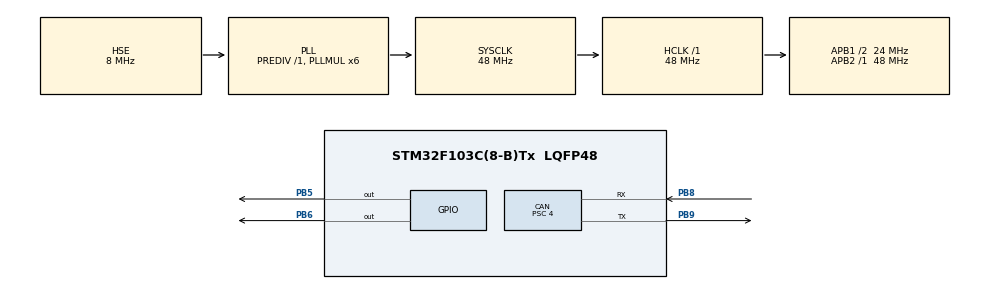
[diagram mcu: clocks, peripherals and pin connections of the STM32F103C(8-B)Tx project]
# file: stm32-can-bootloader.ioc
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CAN.BS1=CAN_BS1_5TQ
CAN.BS2=CAN_BS2_6TQ
CAN.CalculateTimeBit=2000
CAN.CalculateTimeQuantum=166.66666666666666
CAN.NART=ENABLE
CAN.Prescaler=4
Mcu.Family=STM32F1
Mcu.Name=STM32F103C(8-B)Tx
Mcu.Package=LQFP48
NVIC.PriorityGroup=NVIC_PRIORITYGROUP_4
NVIC.USB_LP_CAN1_RX0_IRQn=true\:5\:0\:true\:false\:true\:true\:true\:true
PA13.Mode=Serial_Wire
PA13.Signal=SYS_JTMS-SWDIO
PA14.Mode=Serial_Wire
PA14.Signal=SYS_JTCK-SWCLK
PB5.Signal=GPIO_Output
PB6.Signal=GPIO_Output
PB8.Mode=Master
PB8.Signal=CAN_RX
PB9.Mode=Master
PB9.Signal=CAN_TX
PD0-OSC_IN.Mode=HSE-External-Oscillator
PD0-OSC_IN.Signal=RCC_OSC_IN
PD1-OSC_OUT.Mode=HSE-External-Oscillator
PD1-OSC_OUT.Signal=RCC_OSC_OUT
ProjectManager.HeapSize=0x200
ProjectManager.StackSize=0x400
ProjectManager.TargetToolchain=STM32CubeIDE
RCC.AHBFreq_Value=48000000
RCC.APB1CLKDivider=RCC_HCLK_DIV2
RCC.APB1Freq_Value=24000000
RCC.APB1TimFreq_Value=48000000
RCC.APB2Freq_Value=48000000
RCC.APB2TimFreq_Value=48000000
RCC.HCLKFreq_Value=48000000
RCC.PLLMUL=RCC_PLL_MUL6
RCC.PLLSourceVirtual=RCC_PLLSOURCE_HSE
RCC.SYSCLKFreq_VALUE=48000000
RCC.SYSCLKSource=RCC_SYSCLKSOURCE_PLLCLK
RCC.USBFreq_Value=48000000
VP_CRC_VS_CRC.Mode=CRC_Activate
board=stm32-can-bootloader

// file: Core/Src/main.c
/**
  ******************************************************************************
  * File Name          : main.c
  * Description        : Main program body
  ******************************************************************************
  *
  * COPYRIGHT(c) 2016 STMicroelectronics
  *
  * Redistribution and use in source and binary forms, with or without modification,
  * are permitted provided that the following conditions are met:
  *   1. Redistributions of source code must retain the above copyright notice,
  *      this list of conditions and the following disclaimer.
  *   2. Redistributions in binary form must reproduce the above copyright notice,
  *      this list of conditions and the following disclaimer in the documentation
  *      and/or other materials provided with the distribution.
  *   3. Neither the name of STMicroelectronics nor the names of its contributors
  *      may be used to endorse or promote products derived from this software
  *      without specific prior written permission.
  *
  * THIS SOFTWARE IS PROVIDED BY THE COPYRIGHT HOLDERS AND CONTRIBUTORS "AS IS"
  * AND ANY EXPRESS OR IMPLIED WARRANTIES, INCLUDING, BUT NOT LIMITED TO, THE
  * IMPLIED WARRANTIES OF MERCHANTABILITY AND FITNESS FOR A PARTICULAR PURPOSE ARE
  * DISCLAIMED. IN NO EVENT SHALL THE COPYRIGHT HOLDER OR CONTRIBUTORS BE LIABLE
  * FOR ANY DIRECT, INDIRECT, INCIDENTAL, SPECIAL, EXEMPLARY, OR CONSEQUENTIAL
  * DAMAGES (INCLUDING, BUT NOT LIMITED TO, PROCUREMENT OF SUBSTITUTE GOODS OR
  * SERVICES; LOSS OF USE, DATA, OR PROFITS; OR BUSINESS INTERRUPTION) HOWEVER
  * CAUSED AND ON ANY THEORY OF LIABILITY, WHETHER IN CONTRACT, STRICT LIABILITY,
  * OR TORT (INCLUDING NEGLIGENCE OR OTHERWISE) ARISING IN ANY WAY OUT OF THE USE
  * OF THIS SOFTWARE, EVEN IF ADVISED OF THE POSSIBILITY OF SUCH DAMAGE.
  *
  ******************************************************************************
  */
#include "main.h"
#include "stm32f1xx_hal.h"

/* USER CODE BEGIN Includes */
#include <string.h>

#define  WAIT_HOST    0
#define IDLE        1
#define PAGE_PROG    2

typedef void (*pFunction)(void);

// Flash configuration
#define MAIN_PROGRAM_START_ADDRESS              (uint32_t)0x08002000
#define MAIN_PROGRAM_PAGE_NUMBER                8
#define NUM_OF_PAGES                            (64 - MAIN_PROGRAM_PAGE_NUMBER)

// CAN identifiers
#define DEVICE_CAN_ID                            0x78E
#define CMD_HOST_INIT                            0x01
#define CMD_PAGE_PROG                            0x02
#define CMD_BOOT                                0x03

#define CAN_RESP_OK                              0x01
#define CAN_RESP_ERROR                          0x02

/* USER CODE END Includes */

CAN_HandleTypeDef hcan;

CRC_HandleTypeDef hcrc;

/* USER CODE BEGIN PV */
/* Private variables ---------------------------------------------------------*/
static CanTxMsgTypeDef        canTxMessage;
static CanRxMsgTypeDef        canRxMessage;
static FLASH_EraseInitTypeDef eraseInitStruct;

pFunction                     JumpAddress;
uint8_t                       PageBuffer[FLASH_PAGE_SIZE];
volatile int                  PageBufferPtr;
uint8_t                       PageIndex;
int                           PageCRC;

volatile uint8_t              blState;

/* USER CODE END PV */

void SystemClock_Config(void);
void Error_Handler(void);
static void MX_GPIO_Init(void);
static void MX_CAN_Init(void);
static void MX_CRC_Init(void);

/* USER CODE BEGIN PFP */
/* Private function prototypes -----------------------------------------------*/

/* USER CODE END PFP */

/* USER CODE BEGIN 0 */
void JumpToApplication()
{
  JumpAddress = *(__IO pFunction*)(MAIN_PROGRAM_START_ADDRESS + 4);
  __set_MSP(*(__IO uint32_t*) MAIN_PROGRAM_START_ADDRESS);
  HAL_DeInit();
  JumpAddress();
}

void TransmitResponsePacket(uint8_t response)
{
  hcan.pTxMsg->StdId = DEVICE_CAN_ID;
  hcan.pTxMsg->DLC = 1;
  hcan.pTxMsg->Data[0] = response;
  HAL_CAN_Transmit_IT(&hcan);
}

void HAL_CAN_RxCpltCallback(CAN_HandleTypeDef* CanHandle)
{
  // Skip messages not intended for our device
  if (CanHandle->pRxMsg->StdId != DEVICE_CAN_ID) {
    HAL_CAN_Receive_IT(&hcan, CAN_FIFO0);
    return;
  }

  if (blState == PAGE_PROG)
  {
    memcpy(&PageBuffer[PageBufferPtr],
      CanHandle->pRxMsg->Data,
      CanHandle->pRxMsg->DLC);
    PageBufferPtr += CanHandle->pRxMsg->DLC;

    if (PageBufferPtr == FLASH_PAGE_SIZE) {
      HAL_NVIC_DisableIRQ(USB_LP_CAN1_RX0_IRQn);

      HAL_GPIO_TogglePin(GPIOB, GPIO_PIN_5);
      uint32_t crc = HAL_CRC_Calculate(&hcrc, (uint32_t*)PageBuffer, FLASH_PAGE_SIZE / 4);

      if (crc == PageCRC && PageIndex <= NUM_OF_PAGES)
      {
        HAL_FLASH_Unlock();

        uint32_t PageError = 0;

        eraseInitStruct.TypeErase = TYPEERASE_PAGES;
        eraseInitStruct.PageAddress = MAIN_PROGRAM_START_ADDRESS + PageIndex * FLASH_PAGE_SIZE;
        eraseInitStruct.NbPages = 1;

        HAL_FLASHEx_Erase(&eraseInitStruct, &PageError);

        for (int i = 0; i < FLASH_PAGE_SIZE; i += 4)
        {
          HAL_FLASH_Program(TYPEPROGRAM_WORD, MAIN_PROGRAM_START_ADDRESS + PageIndex * FLASH_PAGE_SIZE + i, *(uint32_t*)&PageBuffer[i]);
        }

        HAL_FLASH_Lock();

        TransmitResponsePacket(CAN_RESP_OK);
      }
      else
      {
        TransmitResponsePacket(CAN_RESP_ERROR);
      }

      blState = IDLE;

      HAL_NVIC_EnableIRQ(USB_LP_CAN1_RX0_IRQn);
    }

    HAL_GPIO_TogglePin(GPIOB, GPIO_PIN_6);
    HAL_CAN_Receive_IT(&hcan, CAN_FIFO0);
    return;
  }

  switch(CanHandle->pRxMsg->Data[0])
  {
    case CMD_HOST_INIT:
      blState = IDLE;
      TransmitResponsePacket(CAN_RESP_OK);
      break;
    case CMD_PAGE_PROG:
      if (blState == IDLE) {
        memset(PageBuffer, 0, FLASH_PAGE_SIZE);
        memcpy(&PageCRC, &CanHandle->pRxMsg->Data[2], sizeof(int));
        PageIndex = CanHandle->pRxMsg->Data[1];
        blState = PAGE_PROG;
        PageBufferPtr = 0;
      } else {
        // Should never get here
      }
      break;
    case CMD_BOOT:
      TransmitResponsePacket(CAN_RESP_OK);
      JumpToApplication();
      break;
    default:
      break;
  }

  HAL_GPIO_TogglePin(GPIOB, GPIO_PIN_6);
  HAL_CAN_Receive_IT(&hcan, CAN_FIFO0);
}
/* USER CODE END 0 */

int main(void)
{

  /* MCU Configuration----------------------------------------------------------*/

  /* Reset of all peripherals, Initializes the Flash interface and the Systick. */
  HAL_Init();

  /* Configure the system clock */
  SystemClock_Config();

  /* Initialize all configured peripherals */
  MX_GPIO_Init();
  MX_CAN_Init();
  MX_CRC_Init();

  /* USER CODE BEGIN 2 */
  hcan.pTxMsg = &canTxMessage;
  hcan.pRxMsg = &canRxMessage;

  CAN_FilterConfTypeDef canFilterConfig;
  canFilterConfig.FilterNumber = 0;
  canFilterConfig.FilterMode = CAN_FILTERMODE_IDMASK;
  canFilterConfig.FilterScale = CAN_FILTERSCALE_32BIT;
  canFilterConfig.FilterIdHigh = 0x0000;
  canFilterConfig.FilterIdLow = 0x0000;
  canFilterConfig.FilterMaskIdHigh = 0x0000 << 5;
  canFilterConfig.FilterMaskIdLow = 0x0000;
  canFilterConfig.FilterFIFOAssignment = 0;
  canFilterConfig.FilterActivation = ENABLE;
  canFilterConfig.BankNumber = 1;
  HAL_CAN_ConfigFilter(&hcan, &canFilterConfig);

  HAL_GPIO_WritePin(GPIOB, GPIO_PIN_6, GPIO_PIN_SET);

  HAL_CAN_Receive_IT(&hcan, CAN_FIFO0);
  HAL_Delay(1000);

  HAL_GPIO_WritePin(GPIOB, GPIO_PIN_6, GPIO_PIN_RESET);

  // Timed out waiting for host
  if (blState == WAIT_HOST) {
    JumpToApplication();
  }
  /* USER CODE END 2 */

  /* Infinite loop */
  while (1)
  {

  }

}

/** System Clock Configuration
*/
void SystemClock_Config(void)
{

  RCC_OscInitTypeDef RCC_OscInitStruct;
  RCC_ClkInitTypeDef RCC_ClkInitStruct;

    /**Initializes the CPU, AHB and APB busses clocks
    */
  RCC_OscInitStruct.OscillatorType = RCC_OSCILLATORTYPE_HSE;
  RCC_OscInitStruct.HSEState = RCC_HSE_ON;
  RCC_OscInitStruct.HSEPredivValue = RCC_HSE_PREDIV_DIV1;
  RCC_OscInitStruct.HSIState = RCC_HSI_ON;
  RCC_OscInitStruct.PLL.PLLState = RCC_PLL_ON;
  RCC_OscInitStruct.PLL.PLLSource = RCC_PLLSOURCE_HSE;
  RCC_OscInitStruct.PLL.PLLMUL = RCC_PLL_MUL6;
  if (HAL_RCC_OscConfig(&RCC_OscInitStruct) != HAL_OK)
  {
    Error_Handler();
  }

    /**Initializes the CPU, AHB and APB busses clocks
    */
  RCC_ClkInitStruct.ClockType = RCC_CLOCKTYPE_HCLK|RCC_CLOCKTYPE_SYSCLK
                              |RCC_CLOCKTYPE_PCLK1|RCC_CLOCKTYPE_PCLK2;
  RCC_ClkInitStruct.SYSCLKSource = RCC_SYSCLKSOURCE_PLLCLK;
  RCC_ClkInitStruct.AHBCLKDivider = RCC_SYSCLK_DIV1;
  RCC_ClkInitStruct.APB1CLKDivider = RCC_HCLK_DIV2;
  RCC_ClkInitStruct.APB2CLKDivider = RCC_HCLK_DIV1;

  if (HAL_RCC_ClockConfig(&RCC_ClkInitStruct, FLASH_LATENCY_1) != HAL_OK)
  {
    Error_Handler();
  }

    /**Configure the Systick interrupt time
    */
  HAL_SYSTICK_Config(HAL_RCC_GetHCLKFreq()/1000);

    /**Configure the Systick
    */
  HAL_SYSTICK_CLKSourceConfig(SYSTICK_CLKSOURCE_HCLK);

  /* SysTick_IRQn interrupt configuration */
  HAL_NVIC_SetPriority(SysTick_IRQn, 0, 0);
}

/* CAN init function */
static void MX_CAN_Init(void)
{

  hcan.Instance = CAN1;
  hcan.Init.Prescaler = 4;
  hcan.Init.Mode = CAN_MODE_NORMAL;
  hcan.Init.SJW = CAN_SJW_1TQ;
  hcan.Init.BS1 = CAN_BS1_5TQ;
  hcan.Init.BS2 = CAN_BS2_6TQ;
  hcan.Init.TTCM = DISABLE;
  hcan.Init.ABOM = DISABLE;
  hcan.Init.AWUM = DISABLE;
  hcan.Init.NART = ENABLE;
  hcan.Init.RFLM = DISABLE;
  hcan.Init.TXFP = DISABLE;
  if (HAL_CAN_Init(&hcan) != HAL_OK)
  {
    Error_Handler();
  }

}

/* CRC init function */
static void MX_CRC_Init(void)
{

  hcrc.Instance = CRC;
  if (HAL_CRC_Init(&hcrc) != HAL_OK)
  {
    Error_Handler();
  }

}

/** Configure pins as
        * Analog
        * Input
        * Output
        * EVENT_OUT
        * EXTI
*/
static void MX_GPIO_Init(void)
{

  GPIO_InitTypeDef GPIO_InitStruct;

  /* GPIO Ports Clock Enable */
  __HAL_RCC_GPIOD_CLK_ENABLE();
  __HAL_RCC_GPIOA_CLK_ENABLE();
  __HAL_RCC_GPIOB_CLK_ENABLE();

  /*Configure GPIO pin Output Level */
  HAL_GPIO_WritePin(GPIOB, GPIO_PIN_5|GPIO_PIN_6, GPIO_PIN_RESET);

  /*Configure GPIO pins : PB5 PB6 */
  GPIO_InitStruct.Pin = GPIO_PIN_5|GPIO_PIN_6;
  GPIO_InitStruct.Mode = GPIO_MODE_OUTPUT_PP;
  GPIO_InitStruct.Speed = GPIO_SPEED_FREQ_LOW;
  HAL_GPIO_Init(GPIOB, &GPIO_InitStruct);

}

void Error_Handler(void)
{
  while(1)
  {
  }
}

/************************ (C) COPYRIGHT STMicroelectronics *****END OF FILE****/
